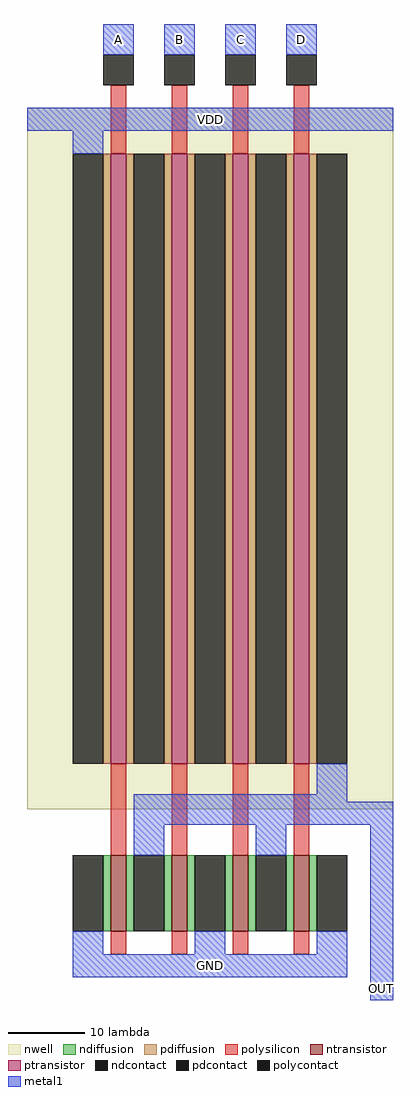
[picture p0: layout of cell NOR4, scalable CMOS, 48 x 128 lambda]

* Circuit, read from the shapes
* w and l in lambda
.subckt NOR4 A B C D GND OUT VDD
M1 OUT A GND VSUBS nfet w=10 l=2
M2 GND B OUT VSUBS nfet w=10 l=2
M3 OUT C GND VSUBS nfet w=10 l=2
M4 GND D OUT VSUBS nfet w=10 l=2
M5 n1 A VDD n2 pfet w=80 l=2
M6 n3 B n1 n2 pfet w=80 l=2
M7 n4 C n3 n2 pfet w=80 l=2
M8 OUT D n4 n2 pfet w=80 l=2
.ends

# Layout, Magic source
magic
tech scmos
<< nwell >>
rect -6 16 42 108
<< ntransistor >>
rect 5 0 7 10
rect 13 0 15 10
rect 21 0 23 10
rect 29 0 31 10
<< ptransistor >>
rect 5 22 7 102
rect 13 22 15 102
rect 21 22 23 102
rect 29 22 31 102
<< ndiffusion >>
rect 4 0 5 10
rect 7 0 8 10
rect 12 0 13 10
rect 15 0 16 10
rect 20 0 21 10
rect 23 0 24 10
rect 28 0 29 10
rect 31 0 32 10
<< pdiffusion >>
rect 4 22 5 102
rect 7 22 8 102
rect 12 22 13 102
rect 15 22 16 102
rect 20 22 21 102
rect 23 22 24 102
rect 28 22 29 102
rect 31 22 32 102
<< ndcontact >>
rect 0 0 4 10
rect 8 0 12 10
rect 16 0 20 10
rect 24 0 28 10
rect 32 0 36 10
<< pdcontact >>
rect 0 22 4 102
rect 8 22 12 102
rect 16 22 20 102
rect 24 22 28 102
rect 32 22 36 102
<< polysilicon >>
rect 5 102 7 111
rect 13 102 15 111
rect 21 102 23 111
rect 29 102 31 111
rect 5 10 7 22
rect 13 10 15 22
rect 21 10 23 22
rect 29 10 31 22
rect 5 -3 7 0
rect 13 -3 15 0
rect 21 -3 23 0
rect 29 -3 31 0
<< polycontact >>
rect 4 111 8 115
rect 12 111 16 115
rect 20 111 24 115
rect 28 111 32 115
<< metal1 >>
rect 4 115 8 119
rect 12 115 16 119
rect 20 115 24 119
rect 28 115 32 119
rect -6 105 42 108
rect 0 102 4 105
rect 32 18 36 22
rect 8 17 36 18
rect 8 14 42 17
rect 8 10 12 14
rect 24 10 28 14
rect 0 -3 4 0
rect 16 -3 20 0
rect 32 -3 36 0
rect 0 -6 36 -3
rect 39 -9 42 14
<< labels >>
rlabel metal1 4 115 8 119 5 A
rlabel metal1 12 115 16 119 5 B
rlabel metal1 20 115 24 119 5 C
rlabel metal1 28 115 32 119 5 D
rlabel metal1 -6 105 42 108 1 VDD
rlabel metal1 0 -6 36 -3 1 GND
rlabel metal1 39 -9 42 -6 8 OUT
<< end >>
